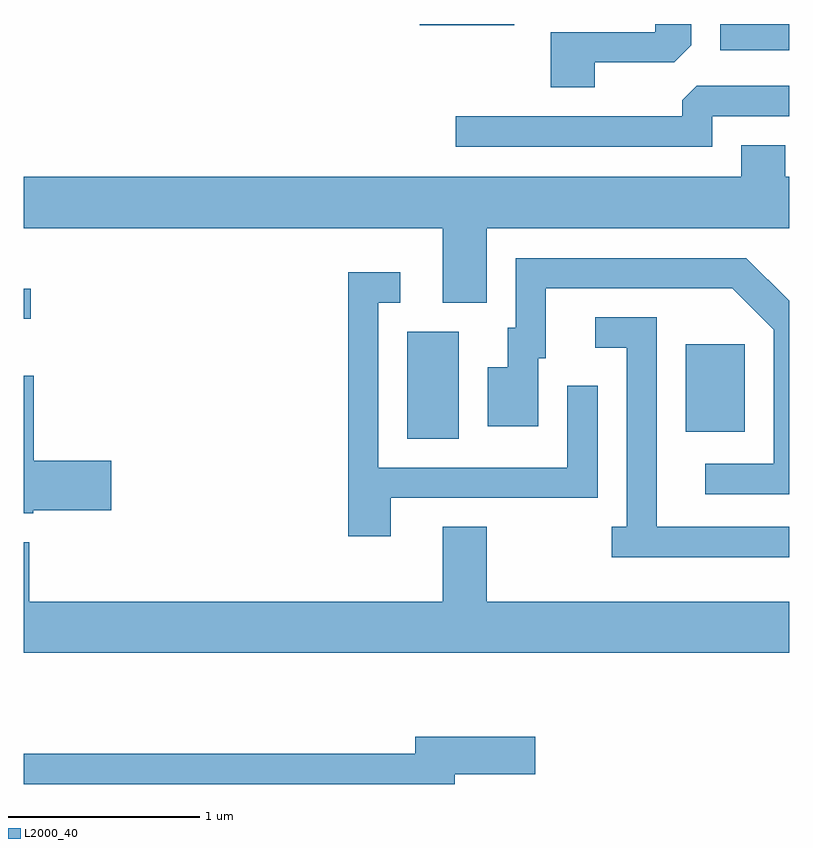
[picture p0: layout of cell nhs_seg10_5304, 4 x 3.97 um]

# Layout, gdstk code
import gdstk
lib = gdstk.Library(unit=1e-6, precision=1e-09)
def R(c, l, rs):  # rectangles x0, y0, x1, y1
    for r in rs: c.add(gdstk.rectangle(r[:2], r[2:], *l))
def P(c, l, *ps):  # polygons
    for p in ps: c.add(gdstk.Polygon(p, *l))
L2000_40 = (2000, 40)

nhs_seg10_5304 = lib.new_cell('nhs_seg10_5304')
R(nhs_seg10_5304, L2000_40, [(343.616,2128.356,343.884,2128.914), (345.071,2128.391,345.379,2128.849), (341.611,2128.981,341.648,2129.139), (345.251,2130.386,345.611,2130.522), (343.681,2130.516,344.174,2130.522)])
P(nhs_seg10_5304, L2000_40, [(344.594,2130.321),(345.009,2130.321),(345.099,2130.412),(345.099,2130.522),(344.911,2130.522),(344.911,2130.479),(344.366,2130.479),(344.366,2130.191),(344.594,2130.191)],
  [(345.209,2130.041),(345.611,2130.041),(345.611,2130.199),(345.127,2130.199),(345.051,2130.124),(345.051,2130.039),(343.868,2130.039),(343.868,2129.881),(345.209,2129.881)],
  [(344.029,2129.456),(345.611,2129.456),(345.611,2129.724),(345.589,2129.724),(345.589,2129.889),(345.361,2129.889),(345.361,2129.724),(341.611,2129.724),(341.611,2129.456),(343.801,2129.456),(343.801,2129.066),(344.029,2129.066)],
  [(345.611,2129.075),(345.387,2129.299),(344.181,2129.299),(344.181,2128.934),(344.141,2128.934),(344.141,2128.729),(344.036,2128.729),(344.036,2128.421),(344.299,2128.421),(344.299,2128.776),(344.339,2128.776),(344.339,2129.141),(345.314,2129.141),(345.531,2128.924),(345.531,2128.224),(345.173,2128.224),(345.173,2128.066),(345.611,2128.066)],
  [(343.529,2128.046),(344.609,2128.046),(344.609,2128.633),(344.451,2128.633),(344.451,2128.204),(343.464,2128.204),(343.464,2129.066),(343.578,2129.066),(343.578,2129.224),(343.306,2129.224),(343.306,2127.846),(343.529,2127.846)],
  [(345.611,2127.894),(344.919,2127.894),(344.919,2128.989),(344.598,2128.989),(344.598,2128.831),(344.761,2128.831),(344.761,2127.894),(344.683,2127.894),(344.683,2127.736),(345.611,2127.736)],
  [(341.66,2127.981),(342.069,2127.981),(342.069,2128.239),(341.664,2128.239),(341.664,2128.684),(341.611,2128.684),(341.611,2127.966),(341.66,2127.966)],
  [(345.611,2127.504),(344.029,2127.504),(344.029,2127.894),(343.801,2127.894),(343.801,2127.504),(341.639,2127.504),(341.639,2127.814),(341.611,2127.814),(341.611,2127.236),(345.611,2127.236)],
  [(343.864,2126.601),(344.284,2126.601),(344.284,2126.799),(343.656,2126.799),(343.656,2126.709),(341.611,2126.709),(341.611,2126.551),(343.864,2126.551)])

lib.write_gds('nhs_seg10_5304.gds')
